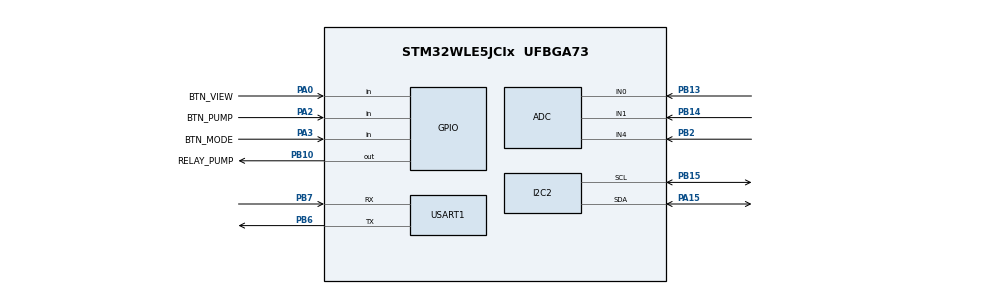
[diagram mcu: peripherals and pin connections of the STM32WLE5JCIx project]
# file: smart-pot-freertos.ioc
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ADC.ContinuousConvMode=DISABLE
ADC.DMAContinuousRequests=DISABLE
ADC.NbrOfConversion=1
ADC.SelectedChannel=ADC_CHANNEL_0|ADC_CHANNEL_1|ADC_CHANNEL_4
FREERTOS.Mutexes01=adcMutex,Dynamic,NULL,Available;lcdMutex,Dynamic,NULL,Available
FREERTOS.Queues01=sensorQueue,16,8,1,Dynamic,NULL,NULL;commandQueue,8,8,1,Dynamic,NULL,NULL
FREERTOS.Tasks01=SoilTask,24,256,StartSoilTask,Default,NULL,Dynamic,NULL,NULL;LightTask,8,256,StartLightTask,Default,NULL,Dynamic,NULL,NULL;WaterTask,8,256,StartWaterTask,Default,NULL,Dynamic,NULL,NULL;DisplayTask,8,512,StartDisplayTask,Default,NULL,Dynamic,NULL,NULL;ButtonTask,24,128,StartButtonTask,Default,NULL,Dynamic,NULL,NULL;ControlTask,16,256,StartControlTask,Default,NULL,Dynamic,NULL,NULL;CommTask,24,256,StartCommTask,Default,NULL,Dynamic,NULL,NULL
FREERTOS.configTOTAL_HEAP_SIZE=16384
I2C2.Timing=0x00100D14
IWDG.Prescaler=IWDG_PRESCALER_256
Mcu.Family=STM32WL
Mcu.Name=STM32WLE5JCIx
Mcu.Package=UFBGA73
NVIC.PriorityGroup=NVIC_PRIORITYGROUP_4
NVIC.TIM17_IRQn=true\:15\:0\:false\:false\:true\:false\:false\:true\:true
NVIC.TimeBase=TIM17_IRQn
NVIC.TimeBaseIP=TIM17
NVIC.USART1_IRQn=true\:5\:0\:false\:false\:true\:true\:true\:true\:true
PA0.GPIO_Label=BTN_VIEW
PA0.GPIO_PuPd=GPIO_PULLUP
PA0.Signal=GPIO_Input
PA15.Mode=I2C
PA15.Signal=I2C2_SDA
PA2.GPIO_Label=BTN_PUMP
PA2.GPIO_PuPd=GPIO_PULLUP
PA2.Signal=GPIO_Input
PA3.GPIO_Label=BTN_MODE
PA3.GPIO_PuPd=GPIO_PULLUP
PA3.Signal=GPIO_Input
PB10.GPIO_Label=RELAY_PUMP
PB10.GPIO_PuPd=GPIO_PULLUP
PB10.PinState=GPIO_PIN_SET
PB10.Signal=GPIO_Output
PB13.Mode=IN0
PB13.Signal=ADC_IN0
PB14.Mode=IN1
PB14.Signal=ADC_IN1
PB15.Mode=I2C
PB15.Signal=I2C2_SCL
PB2.Mode=IN4
PB2.Signal=ADC_IN4
PB6.Mode=Asynchronous
PB6.Signal=USART1_TX
PB7.Mode=Asynchronous
PB7.Signal=USART1_RX
ProjectManager.HeapSize=0x200
ProjectManager.StackSize=0x400
ProjectManager.TargetToolchain=STM32CubeIDE
RCC.HSE_VALUE=8000000
RCC.HSI_VALUE=16000000
RCC.LSE_VALUE=32768
RCC.VCOOutputFreq_Value=32000000
USART1.VirtualMode-Asynchronous=VM_ASYNC
VP_FREERTOS_VS_CMSIS_V2.Mode=CMSIS_V2
VP_IWDG_VS_IWDG.Mode=IWDG_Activate
VP_SYS_VS_tim17.Mode=TIM17
board=custom

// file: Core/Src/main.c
/* USER CODE BEGIN Header */
/**
  ******************************************************************************
  * @file           : main.c
  * @brief          : Main program body
  ******************************************************************************
  * @attention
  *
  * Copyright (c) 2026 STMicroelectronics.
  * All rights reserved.
  *
  * This software is licensed under terms that can be found in the LICENSE file
  * in the root directory of this software component.
  * If no LICENSE file comes with this software, it is provided AS-IS.
  *
  ******************************************************************************
  */
/* USER CODE END Header */
#include "main.h"
#include "cmsis_os2.h"
#include "FreeRTOS.h"
#include "adc.h"
#include "i2c.h"
#include "iwdg.h"
#include "usart.h"
#include "gpio.h"

/* USER CODE BEGIN Includes */
#include <stdio.h>

/* USER CODE END Includes */

/* USER CODE BEGIN PV */
volatile uint32_t soil_raw_value = 0;

/* USER CODE END PV */

void SystemClock_Config(void);
void MX_FREERTOS_Init(void);

int main(void)
{

  /* MCU Configuration--------------------------------------------------------*/

  /* Reset of all peripherals, Initializes the Flash interface and the Systick. */
  HAL_Init();

  /* Configure the system clock */
  SystemClock_Config();

  /* Initialize all configured peripherals */
  MX_GPIO_Init();
  MX_ADC_Init();
  MX_USART1_UART_Init();
  MX_I2C2_Init();
  MX_IWDG_Init();
  /* USER CODE BEGIN 2 */
  HAL_ADCEx_Calibration_Start(&hadc);
  /* USER CODE END 2 */

  /* Init scheduler */
  osKernelInitialize();  /* Call init function for freertos objects (in cmsis_os2.c) */
  MX_FREERTOS_Init();

  /* Start scheduler */
  osKernelStart();

  /* We should never get here as control is now taken by the scheduler */

  /* Infinite loop */
  while (1)
  {

  }
}

void SystemClock_Config(void)
{
  RCC_OscInitTypeDef RCC_OscInitStruct = {0};
  RCC_ClkInitTypeDef RCC_ClkInitStruct = {0};

  /** Configure the main internal regulator output voltage
  */
  __HAL_PWR_VOLTAGESCALING_CONFIG(PWR_REGULATOR_VOLTAGE_SCALE2);

  /** Initializes the CPU, AHB and APB buses clocks
  */
  RCC_OscInitStruct.OscillatorType = RCC_OSCILLATORTYPE_LSI|RCC_OSCILLATORTYPE_MSI;
  RCC_OscInitStruct.MSIState = RCC_MSI_ON;
  RCC_OscInitStruct.MSICalibrationValue = RCC_MSICALIBRATION_DEFAULT;
  RCC_OscInitStruct.MSIClockRange = RCC_MSIRANGE_6;
  RCC_OscInitStruct.LSIDiv = RCC_LSI_DIV1;
  RCC_OscInitStruct.LSIState = RCC_LSI_ON;
  RCC_OscInitStruct.PLL.PLLState = RCC_PLL_NONE;
  if (HAL_RCC_OscConfig(&RCC_OscInitStruct) != HAL_OK)
  {
    Error_Handler();
  }

  /** Configure the SYSCLKSource, HCLK, PCLK1 and PCLK2 clocks dividers
  */
  RCC_ClkInitStruct.ClockType = RCC_CLOCKTYPE_HCLK3|RCC_CLOCKTYPE_HCLK
                              |RCC_CLOCKTYPE_SYSCLK|RCC_CLOCKTYPE_PCLK1
                              |RCC_CLOCKTYPE_PCLK2;
  RCC_ClkInitStruct.SYSCLKSource = RCC_SYSCLKSOURCE_MSI;
  RCC_ClkInitStruct.AHBCLKDivider = RCC_SYSCLK_DIV1;
  RCC_ClkInitStruct.APB1CLKDivider = RCC_HCLK_DIV1;
  RCC_ClkInitStruct.APB2CLKDivider = RCC_HCLK_DIV1;
  RCC_ClkInitStruct.AHBCLK3Divider = RCC_SYSCLK_DIV1;

  if (HAL_RCC_ClockConfig(&RCC_ClkInitStruct, FLASH_LATENCY_0) != HAL_OK)
  {
    Error_Handler();
  }
}

/* USER CODE BEGIN 4 */
int _write(int file, char *ptr, int len)
{
  // Wysyłamy surowe bajty przez UART1
  if (HAL_UART_Transmit(&huart1, (uint8_t *)ptr, len, 100) != HAL_OK) {
      return -1;
  }
  return len;
}

/* USER CODE END 4 */

void HAL_TIM_PeriodElapsedCallback(TIM_HandleTypeDef *htim)
{
  if (htim->Instance == TIM17)
  {
    HAL_IncTick();
  }
}

void Error_Handler(void)
{
  __disable_irq();
  while (1)
  {
  }
}

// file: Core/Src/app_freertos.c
/* USER CODE BEGIN Header */
/**
  ******************************************************************************
  * File Name          : app_freertos.c
  * Description        : Code for freertos applications
  ******************************************************************************
  * @attention
  *
  * Copyright (c) 2026 STMicroelectronics.
  * All rights reserved.
  *
  * This software is licensed under terms that can be found in the LICENSE file
  * in the root directory of this software component.
  * If no LICENSE file comes with this software, it is provided AS-IS.
  *
  ******************************************************************************
  */
/* USER CODE END Header */

#include "FreeRTOS.h"
#include "task.h"
#include "main.h"
#include "cmsis_os2.h"
#include "FreeRTOS.h"

/* USER CODE BEGIN Includes */
#include <stdio.h>
#include <stdlib.h>
#include "adc.h"
#include "lcd_i2c.h"
#include "usart.h"
/* USER CODE END Includes */

/* USER CODE BEGIN Variables */
extern osMutexId_t adcMutexHandle;
extern osMutexId_t lcdMutexHandle;

// Kolejki zdefiniowane w CubeMX
extern osMessageQueueId_t sensorQueueHandle;
extern osMessageQueueId_t commandQueueHandle;
extern UART_HandleTypeDef huart1;
extern IWDG_HandleTypeDef hiwdg;

// Bufor na jeden znak odebrany z klawiatury
uint8_t rx_char;

// --- GLOBALNY STAN SYSTEMU ---
// ControlTask tu pisze, DisplayTask to czyta.
typedef struct {
    uint32_t soil;
    uint32_t light;
    uint32_t water;
    ControlMode_t mode;
    DisplayView_t view;
    uint8_t pump_active;
    uint32_t soil_dry_threshold;
    uint32_t soil_wet_threshold;
} SystemState_t;

// Inicjalizacja stanu zerowego
volatile SystemState_t sysState = {
    .soil = 0, .light = 0, .water = 0,
    .mode = MODE_MANUAL,
    .view = VIEW_ALL,
    .pump_active = 0,
	.soil_dry_threshold = 1500,
	.soil_wet_threshold = 1800
};

// Progi dla automatyki
#define WATER_MIN_LEVEL 200      // Minimum wody w zbiorniku

#define SRC_ID_BUTTON 1
#define SRC_ID_REMOTE 2
#define MSG_CMD_SET_MODE_DIRECT 10
#define MSG_CMD_SET_DRY_THRESH  20

/* USER CODE END Variables */
/* Definitions for SoilTask */
osThreadId_t SoilTaskHandle;
const osThreadAttr_t SoilTask_attributes = {
  .name = "SoilTask",
  .priority = (osPriority_t) osPriorityLow,
  .stack_size = 256 * 4
};
/* Definitions for LightTask */
osThreadId_t LightTaskHandle;
const osThreadAttr_t LightTask_attributes = {
  .name = "LightTask",
  .priority = (osPriority_t) osPriorityLow,
  .stack_size = 256 * 4
};
/* Definitions for WaterTask */
osThreadId_t WaterTaskHandle;
const osThreadAttr_t WaterTask_attributes = {
  .name = "WaterTask",
  .priority = (osPriority_t) osPriorityLow,
  .stack_size = 256 * 4
};
/* Definitions for DisplayTask */
osThreadId_t DisplayTaskHandle;
const osThreadAttr_t DisplayTask_attributes = {
  .name = "DisplayTask",
  .priority = (osPriority_t) osPriorityLow,
  .stack_size = 512 * 4
};
/* Definitions for ButtonTask */
osThreadId_t ButtonTaskHandle;
const osThreadAttr_t ButtonTask_attributes = {
  .name = "ButtonTask",
  .priority = (osPriority_t) osPriorityNormal,
  .stack_size = 128 * 4
};
/* Definitions for ControlTask */
osThreadId_t ControlTaskHandle;
const osThreadAttr_t ControlTask_attributes = {
  .name = "ControlTask",
  .priority = (osPriority_t) osPriorityNormal,
  .stack_size = 256 * 4
};
/* Definitions for CommTask */
osThreadId_t CommTaskHandle;
const osThreadAttr_t CommTask_attributes = {
  .name = "CommTask",
  .priority = (osPriority_t) osPriorityNormal,
  .stack_size = 256 * 4
};
/* Definitions for sensorQueue */
osMessageQueueId_t sensorQueueHandle;
const osMessageQueueAttr_t sensorQueue_attributes = {
  .name = "sensorQueue"
};
/* Definitions for commandQueue */
osMessageQueueId_t commandQueueHandle;
const osMessageQueueAttr_t commandQueue_attributes = {
  .name = "commandQueue"
};
/* Definitions for adcMutex */
osMutexId_t adcMutexHandle;
const osMutexAttr_t adcMutex_attributes = {
  .name = "adcMutex"
};
/* Definitions for lcdMutex */
osMutexId_t lcdMutexHandle;
const osMutexAttr_t lcdMutex_attributes = {
  .name = "lcdMutex"
};

/* USER CODE BEGIN FunctionPrototypes */
void ADC_Select_Channel(uint32_t channel);
void SendSensorData(MsgSource_t src, uint32_t val);
void SendCommand(MsgSource_t src, uint32_t val);
void SetPumpHardware(uint8_t state);
/* USER CODE END FunctionPrototypes */

void StartSoilTask(void *argument);
void StartLightTask(void *argument);
void StartWaterTask(void *argument);
void StartDisplayTask(void *argument);
void StartButtonTask(void *argument);
void StartControlTask(void *argument);
void StartCommTask(void *argument);

void MX_FREERTOS_Init(void); /* (MISRA C 2004 rule 8.1) */

void MX_FREERTOS_Init(void) {
  /* Create the mutex(es) */
  /* creation of adcMutex */
  adcMutexHandle = osMutexNew(&adcMutex_attributes);

  /* creation of lcdMutex */
  lcdMutexHandle = osMutexNew(&lcdMutex_attributes);

  /* Create the queue(s) */
  /* creation of sensorQueue */
  sensorQueueHandle = osMessageQueueNew (16, 8, &sensorQueue_attributes);

  /* creation of commandQueue */
  commandQueueHandle = osMessageQueueNew (8, 8, &commandQueue_attributes);

  /* Create the thread(s) */
  /* creation of SoilTask */
  SoilTaskHandle = osThreadNew(StartSoilTask, NULL, &SoilTask_attributes);

  /* creation of LightTask */
  LightTaskHandle = osThreadNew(StartLightTask, NULL, &LightTask_attributes);

  /* creation of WaterTask */
  WaterTaskHandle = osThreadNew(StartWaterTask, NULL, &WaterTask_attributes);

  /* creation of DisplayTask */
  DisplayTaskHandle = osThreadNew(StartDisplayTask, NULL, &DisplayTask_attributes);

  /* creation of ButtonTask */
  ButtonTaskHandle = osThreadNew(StartButtonTask, NULL, &ButtonTask_attributes);

  /* creation of ControlTask */
  ControlTaskHandle = osThreadNew(StartControlTask, NULL, &ControlTask_attributes);

  /* creation of CommTask */
  CommTaskHandle = osThreadNew(StartCommTask, NULL, &CommTask_attributes);

}

void StartSoilTask(void *argument)
{
  /* USER CODE BEGIN StartSoilTask */
  uint32_t raw;
  for(;;)
  {
    osMutexAcquire(adcMutexHandle, osWaitForever);
    ADC_Select_Channel(ADC_CHANNEL_0);
    HAL_ADC_Start(&hadc);
    if (HAL_ADC_PollForConversion(&hadc, 100) == HAL_OK) {
        raw = HAL_ADC_GetValue(&hadc);
        // WYŚLIJ DO KOLEJKI
        SendSensorData(MSG_SRC_SENSOR_SOIL, raw);
    }
    HAL_ADC_Stop(&hadc);
    osMutexRelease(adcMutexHandle);

    HAL_GPIO_TogglePin(GPIOB, GPIO_PIN_5);
    osDelay(1000);
  }
  /* USER CODE END StartSoilTask */
}

void StartLightTask(void *argument)
{
  /* USER CODE BEGIN StartLightTask */
  uint32_t raw;
  osDelay(333);
  for(;;)
  {
    osMutexAcquire(adcMutexHandle, osWaitForever);
    ADC_Select_Channel(ADC_CHANNEL_1);
    HAL_ADC_Start(&hadc);
    if (HAL_ADC_PollForConversion(&hadc, 100) == HAL_OK) {
        raw = HAL_ADC_GetValue(&hadc);
        // WYŚLIJ DO KOLEJKI
        SendSensorData(MSG_SRC_SENSOR_LIGHT, raw);
    }
    HAL_ADC_Stop(&hadc);
    osMutexRelease(adcMutexHandle);

    osDelay(1000);
  }
  /* USER CODE END StartLightTask */
}

void StartWaterTask(void *argument)
{
  /* USER CODE BEGIN StartWaterTask */
  uint32_t raw;
  osDelay(666);
  for(;;)
  {
    osMutexAcquire(adcMutexHandle, osWaitForever);
    ADC_Select_Channel(ADC_CHANNEL_4);
    HAL_ADC_Start(&hadc);
    if (HAL_ADC_PollForConversion(&hadc, 100) == HAL_OK) {
        raw = HAL_ADC_GetValue(&hadc);
        // WYŚLIJ DO KOLEJKI
        SendSensorData(MSG_SRC_SENSOR_WATER, raw);
    }
    HAL_ADC_Stop(&hadc);
    osMutexRelease(adcMutexHandle);

    osDelay(1000);
  }
  /* USER CODE END StartWaterTask */
}

void StartDisplayTask(void *argument)
{
  /* USER CODE BEGIN StartDisplayTask */
  char lcd_line1[17];
  char lcd_line2[17];

  // Init LCD
  osMutexAcquire(lcdMutexHandle, osWaitForever);
  lcd_init();
  lcd_clear();
  osMutexRelease(lcdMutexHandle);

  for(;;)
  {
    // Logowanie UART - Dla Maszyny (Python/Firebase Bridge)
    printf("JSON:{\"soil\":%lu,\"light\":%lu,\"water\":%lu,\"mode\":%d,\"pump\":%d}\r\n",
           sysState.soil, sysState.light, sysState.water,
           sysState.mode, sysState.pump_active);

    // Obsługa LCD
    osMutexAcquire(lcdMutexHandle, osWaitForever);

    // --- LINIA 1: Dane ---
    lcd_put_cur(0, 0);
    switch(sysState.view) {
        case VIEW_ALL:
            // S1234 L1234 W123
            sprintf(lcd_line1, "S%4lu L%4lu W%3lu", sysState.soil, sysState.light, (sysState.water > 999 ? 999 : sysState.water));
            break;
        case VIEW_SOIL:
            sprintf(lcd_line1, "Soil:  %-4lu     ", sysState.soil);
            break;
        case VIEW_WATER:
            sprintf(lcd_line1, "Water: %-4lu     ", sysState.water);
            break;
        case VIEW_LIGHT:
            sprintf(lcd_line1, "Light: %-4lu     ", sysState.light);
            break;
    }
    lcd_send_string(lcd_line1);

    // --- LINIA 2: Status ---
    lcd_put_cur(1, 0);

    char *mode_str = "MAN";
    if (sysState.mode == MODE_AUTO) mode_str = "AUT";
    else if (sysState.mode == MODE_REMOTE) mode_str = "RMT";

    char pump_char = sysState.pump_active ? '*' : ' ';

    if (sysState.view == VIEW_ALL) {
         // Powrót do Twojego formatu: M:MAN P:[ ]
         sprintf(lcd_line2, "M:%s P:[%c]     ", mode_str, pump_char);
    } else {
         // Pełny format dla widoków szczegółowych
         sprintf(lcd_line2, "Mode:%s P:[%c]   ", mode_str, pump_char);
    }
    lcd_send_string(lcd_line2);

    osMutexRelease(lcdMutexHandle);

    osDelay(500); // Odświeżanie 2Hz
  }
  /* USER CODE END StartDisplayTask */
}

void StartButtonTask(void *argument)
{
  /* USER CODE BEGIN StartButtonTask */
  SetPumpHardware(0);
  uint8_t last_btn_view = 1;
  uint8_t last_btn_mode = 1;
  uint8_t last_btn_pump = 1;

  for(;;)
  {
    uint8_t curr_btn_view = HAL_GPIO_ReadPin(BTN_VIEW_GPIO_Port, BTN_VIEW_Pin);
    uint8_t curr_btn_mode = HAL_GPIO_ReadPin(BTN_MODE_GPIO_Port, BTN_MODE_Pin);
    uint8_t curr_btn_pump = HAL_GPIO_ReadPin(BTN_PUMP_GPIO_Port, BTN_PUMP_Pin);

    // 1. Zmiana widoku
    if (last_btn_view == 1 && curr_btn_view == 0) {
        SendCommand(MSG_CMD_CHANGE_VIEW, 0);
    }
    last_btn_view = curr_btn_view;

    // 2. Zmiana trybu
    if (last_btn_mode == 1 && curr_btn_mode == 0) {
        SendCommand(MSG_CMD_CHANGE_MODE, 0);
    }
    last_btn_mode = curr_btn_mode;

    // 3. Sterowanie manualne (Podpisujemy jako SRC_ID_BUTTON)
    if (curr_btn_pump != last_btn_pump) {
        if (curr_btn_pump == 0) {
            SendCommand(MSG_CMD_PUMP_REQ_ON, SRC_ID_BUTTON); // <--- ZMIANA
        } else {
            SendCommand(MSG_CMD_PUMP_REQ_OFF, SRC_ID_BUTTON); // <--- ZMIANA
        }
        last_btn_pump = curr_btn_pump;
    }

    osDelay(20);
  }
  /* USER CODE END StartButtonTask */
}

/* USER CODE BEGIN Header_StartControlTask */
void StartControlTask(void *argument)
{
  AppMsg_t msg;
  SetPumpHardware(0);

  for(;;)
  {
    HAL_IWDG_Refresh(&hiwdg);

    // A. Komendy
    if (osMessageQueueGet(commandQueueHandle, &msg, NULL, 0) == osOK) {
        switch(msg.source) {
            case MSG_CMD_CHANGE_VIEW:
                sysState.view++;
                if (sysState.view > VIEW_LIGHT) sysState.view = VIEW_ALL;
                break;

            case MSG_CMD_CHANGE_MODE:
                sysState.mode++;
                if (sysState.mode > MODE_REMOTE) sysState.mode = MODE_MANUAL;
                SetPumpHardware(0);
                sysState.pump_active = 0;
                break;

            case MSG_CMD_SET_MODE_DIRECT:
                if (msg.value <= MODE_REMOTE) {
                    sysState.mode = (ControlMode_t)msg.value;
                    SetPumpHardware(0);
                    sysState.pump_active = 0;
                }
                break;

            // Ustawianie progu
            case MSG_CMD_SET_DRY_THRESH:
                if (msg.value < 4096) {
                    sysState.soil_dry_threshold = msg.value;
                    // Histereza -300 (Wysoka wartość = sucho, więc mokro = mniej)
                    if (msg.value > 300) sysState.soil_wet_threshold = msg.value - 300;
                    else sysState.soil_wet_threshold = 0;
                }
                break;

            case MSG_CMD_PUMP_REQ_ON:
                if ( (sysState.mode == MODE_MANUAL && msg.value == SRC_ID_BUTTON) ||
                     (sysState.mode == MODE_REMOTE && msg.value == SRC_ID_REMOTE) )
                {
                    SetPumpHardware(1);
                    sysState.pump_active = 1;
                }
                break;

            case MSG_CMD_PUMP_REQ_OFF:
                if ( (sysState.mode == MODE_MANUAL && msg.value == SRC_ID_BUTTON) ||
                     (sysState.mode == MODE_REMOTE && msg.value == SRC_ID_REMOTE) )
                {
                    SetPumpHardware(0);
                    sysState.pump_active = 0;
                }
                break;

            default: break;
        }
    }

    // B. Sensory
    if (osMessageQueueGet(sensorQueueHandle, &msg, NULL, 5) == osOK) {
        switch(msg.source) {
            case MSG_SRC_SENSOR_SOIL:  sysState.soil = msg.value; break;
            case MSG_SRC_SENSOR_LIGHT: sysState.light = msg.value; break;
            case MSG_SRC_SENSOR_WATER: sysState.water = msg.value; break;
            default: break;
        }
    }

    // C. Logika AUTO - POPRAWIONA (Dla czujników gdzie High = Dry)
    if (sysState.mode == MODE_AUTO) {
        // Włącz jeśli wartość jest WIĘKSZA niż próg (czyli jest za SUCHO)
        if (sysState.soil > sysState.soil_dry_threshold && sysState.water > WATER_MIN_LEVEL) {
            if (sysState.pump_active == 0) {
                SetPumpHardware(1);
                sysState.pump_active = 1;
            }
        }
        // Wyłącz jeśli wartość spadnie poniżej progu mokrości (czyli zrobiło się MOKRO)
        else if (sysState.soil < sysState.soil_wet_threshold || sysState.water < WATER_MIN_LEVEL) {
            if (sysState.pump_active == 1) {
                SetPumpHardware(0);
                sysState.pump_active = 0;
            }
        }
    }

    osDelay(10);
  }
}
/* USER CODE END Header_StartControlTask */

/* USER CODE BEGIN Header_StartCommTask */
/* USER CODE BEGIN Header_StartCommTask */
void StartCommTask(void *argument)
{
  // 1. Start nasłuchu (zabezpieczony pętlą)
  while(HAL_UART_Receive_IT(&huart1, &rx_char, 1) != HAL_OK) {
      osDelay(5); // Czekaj, jeśli UART jest zajęty
  }

  uint8_t buf[5]; // Bufor na 4 cyfry + null

  for(;;)
  {
    // 2. Czekaj na flagę z przerwania (przyjście znaku)
    osThreadFlagsWait(0x01, osFlagsWaitAny, osWaitForever);

    // 3. Analiza znaku
    if (rx_char == '1') {
        SendCommand(MSG_CMD_PUMP_REQ_ON, SRC_ID_REMOTE);
    }
    else if (rx_char == '0') {
        SendCommand(MSG_CMD_PUMP_REQ_OFF, SRC_ID_REMOTE);
    }
    else if (rx_char == 'M') {
        SendCommand(MSG_CMD_SET_MODE_DIRECT, MODE_MANUAL);
    }
    else if (rx_char == 'A') {
        SendCommand(MSG_CMD_SET_MODE_DIRECT, MODE_AUTO);
    }
    else if (rx_char == 'R') {
        SendCommand(MSG_CMD_SET_MODE_DIRECT, MODE_REMOTE);
    }
    // --- Odbiór wartości progu 'Dxxxx' ---
    else if (rx_char == 'D') {
        // Blokująco odbierz kolejne 4 znaki.
        // Uwaga: To może kolidować z printf, ale HAL_UART_Receive ma timeout.
        if (HAL_UART_Receive(&huart1, buf, 4, 100) == HAL_OK) {
            buf[4] = 0; // Null terminator
            uint32_t val = atoi((char*)buf);
            SendCommand(MSG_CMD_SET_DRY_THRESH, val);
        }
    }

    // 4. Wznów nasłuch - TO JEST KLUCZOWA POPRAWKA
    // Jeśli printf() akurat wysyła JSON, UART będzie ZAJĘTY (HAL_BUSY).
    // Musimy próbować do skutku, inaczej przerwania odbioru zgasną na zawsze!
    while(HAL_UART_Receive_IT(&huart1, &rx_char, 1) != HAL_OK) {
        osDelay(1); // Krótkie czekanie i ponowna próba
    }
  }
}
/* USER CODE END Header_StartCommTask */
/* USER CODE END Header_StartCommTask */

/* USER CODE BEGIN Application */
void ADC_Select_Channel(uint32_t channel) {
  ADC_ChannelConfTypeDef sConfig = {0};
  sConfig.Channel = channel;
  sConfig.Rank = ADC_REGULAR_RANK_1;
  sConfig.SamplingTime = ADC_SAMPLETIME_160CYCLES_5;
  if (HAL_ADC_ConfigChannel(&hadc, &sConfig) != HAL_OK) { Error_Handler(); }
}

// Wysyła dane do kolejki czujników
void SendSensorData(MsgSource_t src, uint32_t val) {
    AppMsg_t msg;
    msg.source = src;
    msg.value = val;
    osMessageQueuePut(sensorQueueHandle, &msg, 0, 0);
}

// Wysyła dane do kolejki komend (przyciski)
void SendCommand(MsgSource_t src, uint32_t val) {
    AppMsg_t msg;
    msg.source = src;
    msg.value = val;
    osMessageQueuePut(commandQueueHandle, &msg, 0, 0);
}

// Sterownik sprzętowy pompy (tylko włącz/wyłącz pin)
void SetPumpHardware(uint8_t state) {
    if (state == 1) {
        // Active LOW (Włącz)
        HAL_GPIO_WritePin(RELAY_PUMP_GPIO_Port, RELAY_PUMP_Pin, GPIO_PIN_RESET);
    } else {
        // Active LOW (Wyłącz)
        HAL_GPIO_WritePin(RELAY_PUMP_GPIO_Port, RELAY_PUMP_Pin, GPIO_PIN_SET);
    }
}

void HAL_UART_RxCpltCallback(UART_HandleTypeDef *huart)
{
    // Sprawdzamy, czy przerwanie przyszło z UART1
    if (huart->Instance == USART1) {
        // Wyślij sygnał (flaga nr 1) do CommTask, żeby go obudzić
        osThreadFlagsSet(CommTaskHandle, 0x01);
    }
}
/* USER CODE END Application */
